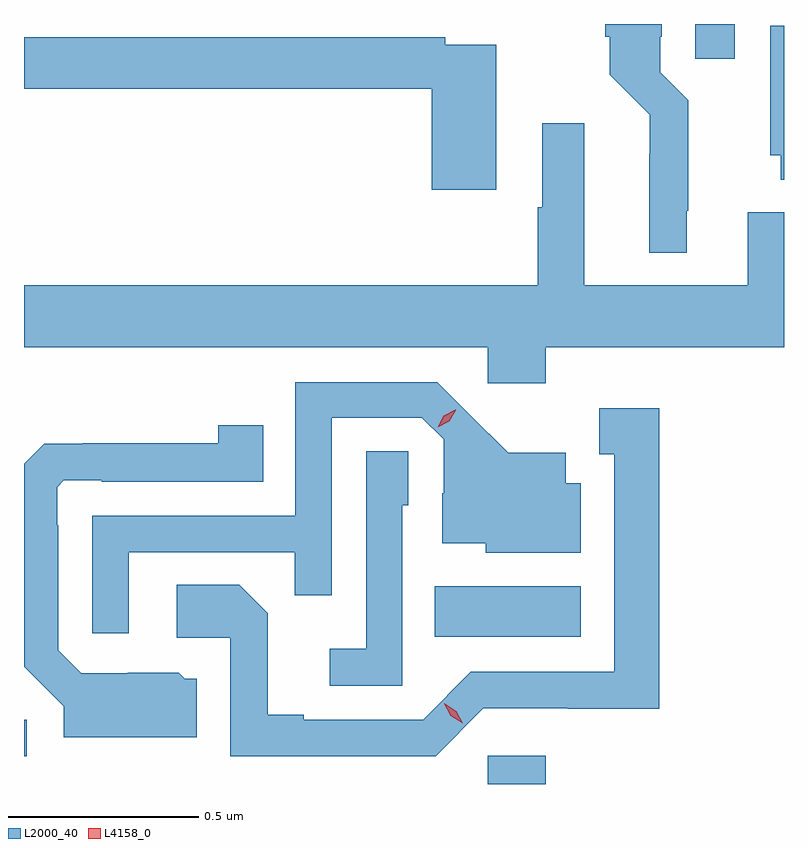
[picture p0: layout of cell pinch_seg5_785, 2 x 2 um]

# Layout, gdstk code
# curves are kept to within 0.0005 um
import gdstk
lib = gdstk.Library(unit=1e-6, precision=1e-09)
def R(c, l, rs):  # rectangles x0, y0, x1, y1
    for r in rs: c.add(gdstk.rectangle(r[:2], r[2:], *l))
def P(c, l, *ps):  # polygons
    for p in ps: c.add(gdstk.Polygon(p, *l))
L2000_40 = (2000, 40)
L4158_0 = (4158, 0)

pinch_seg5_785 = lib.new_cell('pinch_seg5_785')
R(pinch_seg5_785, L2000_40, [(803.064,902.231,803.216,902.305), (801.843,902.304,801.85,902.4), (802.924,902.618,803.308,902.752), (803.609,904.14,803.713,904.231)])
P(pinch_seg5_785, L2000_40, [(803.587,903.739),(803.591,903.739),(803.591,904.03),(803.517,904.104),(803.517,904.198),(803.521,904.198),(803.521,904.231),(803.372,904.231),(803.372,904.198),(803.384,904.198),(803.384,904.098),(803.49,903.992),(803.49,903.89),(803.489,903.89),(803.489,903.629),(803.587,903.629)],
  [(803.843,904.226),(803.807,904.226),(803.807,903.885),(803.834,903.885),(803.834,903.821),(803.843,903.821)],
  [(803.086,904.176),(802.952,904.176),(802.952,904.196),(801.843,904.196),(801.843,904.06),(802.916,904.06),(802.916,903.795),(803.086,903.795)],
  [(803.216,903.38),(803.843,903.38),(803.843,903.736),(803.747,903.736),(803.747,903.544),(803.317,903.544),(803.317,903.97),(803.207,903.97),(803.207,903.749),(803.195,903.749),(803.195,903.544),(801.843,903.544),(801.843,903.38),(803.064,903.38),(803.064,903.285),(803.216,903.285)],
  [(802.119,902.841),(802.555,902.841),(802.555,902.728),(802.653,902.728),(802.653,903.195),(802.89,903.195),(802.947,903.138),(802.947,902.996),(802.943,902.996),(802.943,902.864),(803.058,902.864),(803.058,902.84),(803.308,902.84),(803.308,903.022),(803.269,903.022),(803.269,903.103),(803.117,903.103),(802.93,903.288),(802.557,903.288),(802.557,902.937),(802.023,902.937),(802.023,902.628),(802.119,902.628)],
  [(803.052,902.43),(803.274,902.43),(803.274,902.429),(803.515,902.429),(803.515,903.22),(803.357,903.22),(803.357,903.099),(803.396,903.099),(803.396,902.526),(803.019,902.526),(802.893,902.4),(802.579,902.4),(802.579,902.413),(802.485,902.413),(802.485,902.68),(802.409,902.756),(802.245,902.756),(802.245,902.616),(802.386,902.616),(802.386,902.304),(802.926,902.304)],
  [(802.297,902.508),(802.266,902.508),(802.25,902.524),(802.116,902.524),(802.116,902.523),(801.993,902.523),(801.933,902.583),(801.933,902.912),(801.93,902.912),(801.93,903.012),(801.948,903.03),(802.048,903.03),(802.048,903.027),(802.472,903.027),(802.472,903.175),(802.354,903.175),(802.354,903.128),(801.997,903.128),(801.997,903.127),(801.896,903.127),(801.843,903.074),(801.843,902.54),(801.947,902.436),(801.947,902.354),(802.297,902.354)],
  [(802.839,902.964),(802.854,902.964),(802.854,903.107),(802.743,903.107),(802.743,902.587),(802.647,902.587),(802.647,902.49),(802.839,902.49)])
P(pinch_seg5_785, L4158_0, [(802.932,903.17),(802.932,903.17),(802.948,903.2),(802.978,903.216),(802.979,903.216),(802.979,903.215),(802.962,903.186),(802.932,903.17)],
  [(802.998,902.391),(802.966,902.41),(802.949,902.442),(802.949,902.443),(802.949,902.443),(802.981,902.423),(802.998,902.391),(802.998,902.391)])

lib.write_gds('pinch_seg5_785.gds')
